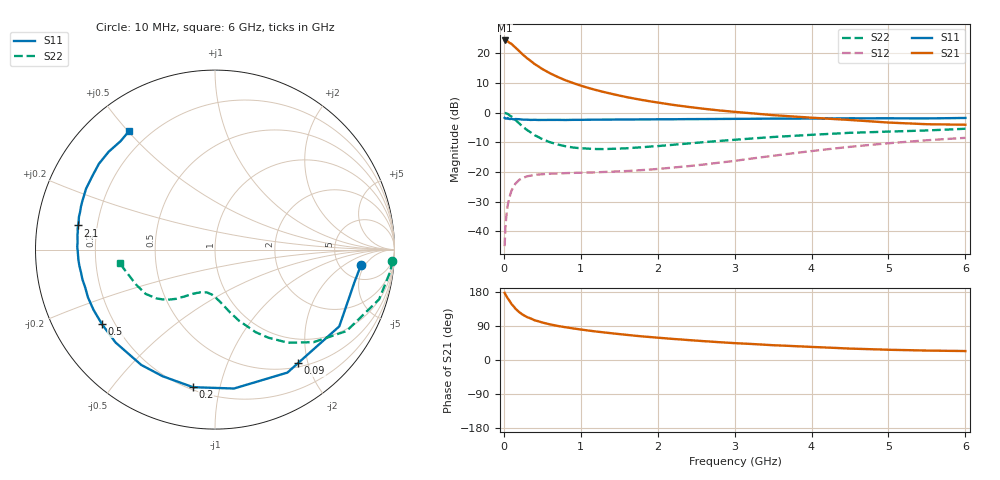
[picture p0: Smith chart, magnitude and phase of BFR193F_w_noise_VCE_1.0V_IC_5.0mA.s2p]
! Infineon Technologies  Discrete & RF Semiconductors
! BFR193F
! VCE =  1.0 V,  IC =  5.0 mA
! Common Emitter S-Parameters:  Jan 2017
# GHz  S  MA  R  50
!  f  S11  S21  S12  S22
! GHz  MAG  ANG  MAG  ANG  MAG  ANG  MAG  ANG
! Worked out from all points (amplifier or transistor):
!   77 points, 10 MHz to 6 GHz, reference 50 ohm
!   highest |S21| = 24.4 dB at 10 MHz (marker M1)
!   |S21| within 3 dB of that: start of sweep to 175.8 MHz
!   unconditionally stable (mu >= 1): 1.747 GHz to 3.289 GHz
!   at 130 MHz: K = 0.11, MSG = 23.6 dB, |S12| = -24.8 dB
!   at 2.2 GHz: K = 1.09, MAG = 8.7 dB, |S12| = -18.5 dB
!   at 6 GHz: K = 0.87, MSG = 2.2 dB, |S12| = -8.5 dB
!   lowest NFmin = 0.81 dB at 450 MHz
!   S11 on the Smith chart (normalised r, x): 10 MHz: 7.79, -4.08; 90 MHz: 0.56, -1.83; 200 MHz: 0.21, -0.83; 500 MHz: 0.15, -0.29; 2.1 GHz: 0.13, +0.09; 6 GHz: 0.13, +0.50
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0.01  0.8175 -6.1  16.54 177.2  0.0056 89.1  0.9894 -3.6
0.02  0.7974 -13.5  16.31 173.1  0.0114 84.5  0.985 -6.9
0.05  0.8139 -31.7  15.97 163.0  0.0273 75.1  0.9552 -16.9
0.09  0.7838 -53.9  14.69 150.9  0.0442 63.3  0.8755 -28.6
0.1  0.7952 -59.5  14.48 147.6  0.0486 61.7  0.8619 -31.8
0.15  0.7812 -82.2  12.59 135.7  0.0634 51.5  0.7534 -43.2
0.2  0.7763 -99.1  10.94 126.2  0.0736 44.3  0.6593 -51.9
0.25  0.7635 -112.5  9.466 119.0  0.0794 39.3  0.575 -58.7
0.3  0.7627 -122.6  8.338 113.4  0.0843 35.1  0.5127 -63.8
0.4  0.7582 -137.0  6.621 104.8  0.0895 30.5  0.4178 -71.4
0.5  0.7544 -146.5  5.45 98.9  0.0916 27.9  0.358 -76.7
0.6  0.7555 -153.6  4.625 94.0  0.0935 26.9  0.3177 -80.9
0.7  0.7562 -159.4  4.012 89.9  0.0944 26.6  0.291 -84.7
0.8  0.7532 -163.5  3.528 86.5  0.0955 27.0  0.2715 -88.3
1.1  0.7607 -173.0  2.614 77.7  0.0979 29.7  0.2474 -96.8
1.3  0.7637 -177.6  2.231 72.8  0.1 32.9  0.2431 -101.7
1.6  0.7666 177.1  1.828 66.3  0.1037 37.9  0.251 -108.7
2.1  0.7742 170.0  1.418 57.3  0.1154 47.3  0.2802 -117.5
3.1  0.7877 159.1  1.007 43.5  0.1603 61.0  0.3569 -129.5
4.1  0.7976 148.1  0.809 33.7  0.2329 64.8  0.4298 -141.5
5.1  0.8035 136.1  0.673 26.6  0.3124 61.0  0.4842 -157.6
6  0.815 126.1  0.626 23.6  0.3764 55.2  0.5361 -171.7
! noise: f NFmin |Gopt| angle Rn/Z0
0.45  0.81  0.31  100  0.1
0.9  1.01  0.45  136  0.09
1.9  1.9  0.63  -179  0.06
2.4  2.34  0.67  -168  0.11
